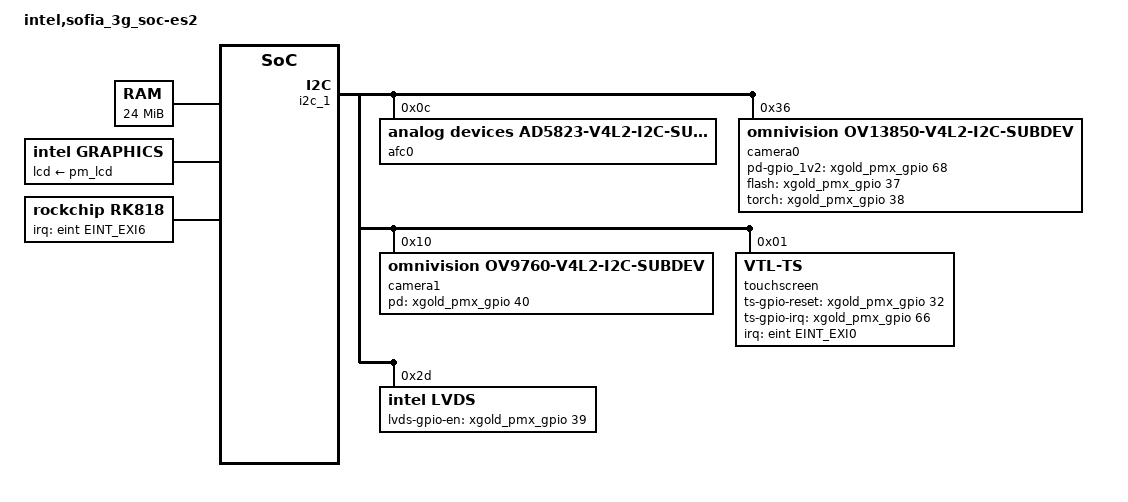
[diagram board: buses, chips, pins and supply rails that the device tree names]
/dts-v1/;
#define SOFIA3G_ES2
#define SOFIA3G_ES2_TAB_SVB
#include "xgold/sofia_3g_soc/irq.h"

/ {
	#address-cells = <1>;
	#size-cells = <1>;
	model = "intel,sofia_3g_soc-es2";
	compatible = "intel,sofia_3g_soc-svb", "intel,xgold";

	#include "xgold/sofia_3g_soc/sofia_3g_soc.dtsi"
	#include "xgold/sofia_3g_soc/irq.dtsi"
	#include "xgold/mobilevisor/mobilevisor.dtsi"
	#include "xgold/sofia_3g_soc/clock-es2.dtsi"
	#include "xgold/sofia_3g_soc/regulator.dtsi"
	#include "xgold/sofia_3g_soc/device-pm-reg.dtsi"
	#include "xgold/sofia_3g_soc/cpufreq.dtsi"
	#include "xgold/pmic/granite.dtsi"
	chosen {
	};

	aliases {
	};

	memory {
		device_type = "memory";
		reg = <0x800000 0x1800000>;
	};

	ion {
		compatible = "intel,ion";
#ifndef RECOVERY_KERNEL
		secvm-handler;
#endif
		cma-heap {
			intel,heapmem = <   0x00000000 0x08000000 >;
		};
	};

	backlight:agold620-backlight {
		compatible = "intel,agold620-led";
		reg = <0xE6501800 0x154>;
		reg-names = "pmu-bl";
		intel,flags-use-safe-ctrl;
		intel,vmm-secured-access;
		pm,class-name = "bl_class";
		pm,user-name = "bl";
		pm,state-D0 = "enable";
		pm,state-D3 = "disable";
		intel,led-k2 = <0x143>;
		intel,led-k1max = <0x120>;
		intel,led-k2max = <0xFFFF>;
		intel,led-up = <0x10104>;
		intel,led-down = <0x200>;
		intel,led-safe = <0x12>;
	};

	graphics {
		compatible = "intel,graphics";

		intel,gpu-shared-mem = <0x20000000>;
		intel,dcc-fbpixelformat= "RGB888";
		intel,dcc-debug-level = <1>;
#ifdef RECOVERY_KERNEL
		intel,fb-api = <1>;
		intel,dcc-mem = < 0x00800000 >;
#else
		intel,dcc-use-fences = <0>;
		intel,dcc-mem = < 0x00400000 >;
#endif
		intel,display-fps = <60>;
		intel,display-ramless = <1>;
		intel,display-preinit = <0>;
		intel,display-if = <&mipi_dsi>;
		intel,display-if-rate = <450000000>;
		lcd-supply = <&pm_lcd>;
		/include/ "xgold/display/claa070wp03xg.dtsi"
		mipi_dsi:mipi-dsi {
				intel,display-if-min = <104000000>;
				intel,display-if-max = <550000000>;
				intel,display-if-nblanes = <4>;
				intel,display-if-phy-pwup = <6>;
				intel,display-if-phy-calib = <3>;
				intel,display-if-phy-to_lp_hs_req = <24>;
				intel,display-if-phy-to_lp_hs_dis = <25>;
				intel,display-if-phy-to_lp_hs_eot = <60>;
				intel,display-if-phy-to_hs_zero = <8>;
				intel,display-if-phy-to_hs_flip = <24>;
				intel,display-if-phy-lp_clk_div = <31>;
				intel,display-if-phy-to_hs_clk_pre = <36>;
				intel,display-if-phy-to_hs_clk_post = <42>;
				intel,display-if-phy-data_delay = <7>;
				intel,display-if-phy-clock_delay = <7>;
				intel,display-if-phy-lp_tx_tfall = <2>;
				intel,display-if-phy-lp_tx_rise = <2>;
				intel,display-if-phy-lp_tx_vref = <31>;
		};
	};

#ifndef RECOVERY_KERNEL
	sound:sound {
		compatible = "intel,xgold-snd-asoc";
		intel,audio-codec = < &afe >;
		intel,pcm-audio = <&pcm_music>;
		intel,pcm-voice = <&pcm_voice>;
		intel,speech = <&speech_probe>;
		intel,jack = <&headset>;
	};
#endif

	rk818  {
		compatible = "rockchip,rk818";
		status = "okay";
		interrupt-parent = <&eint>;
		interrupts = < EINT_EXI6 XGOLD_IRQ_TYPE_EDGE_FALLING >;
		pinctrl-names = "default", "sleep", "inactive";
		pinctrl-0 = <&pmu_default_pins>;
		pinctrl-1 = <&pmu_sleep_pins>;
		pinctrl-2 = <&pmu_inactive_pins>;
		battery {
			ocv_table = <3350 3677 3693 3719 3752 3770 3775 3778 3785 3796 3812 3839 3881 3907 3933 3958 3978 4033 4087 4123 4174>;
			design_capacity = <2100>;
			design_qmax = <2200>;
			max_overcharge = <100>;
			max_charge_currentma = <1500>;
			max_charge_voltagemv = <4260>;
			max_bat_voltagemv = <4200>;
		};
	};
};

&eint {
	/* intel,virq,x = <0>; means EINTx is owned & requested by IRQ framework */
	intel,virq,0 = <0>; /* EINT_EXI0: TOUCH */
	intel,virq,1 = <0>; /* EINT_EXI1: ??? */
	intel,virq,2 = <0>; /* EINT_EXI2: ??? */
	intel,virq,3 = <1>; /* EINT_EXI3 */
	intel,virq,4 = <1>; /* EINT_EXI4 */
	intel,virq,5 = <1>; /* EINT_EXI5 */
	intel,virq,6 = <0>; /* EINT_EXI6: RK818 */
	intel,virq,7 = <1>; /* EINT_EXI7 */
	intel,virq,8 = <0>; /* EINT_EXI8: SD-DET */
	intel,virq,9 = <1>; /* EINT_EXI9 */
	intel,virq,10 = <1>; /* EINT_EXI10 */
	intel,virq,11 = <1>; /* EINT_EXI11 */
	intel,virq,12 = <0>; /* EINT_EXI12: ??? */
	intel,virq,13 = <1>; /* EINT_EXI13 */
	intel,virq,14 = <1>; /* EINT_EXI14 */
	intel,virq,15 = <1>; /* EINT_EXI15 */
	intel,virq,16 = <0>; /* EINT_USB_HS_RESUME */
	intel,virq,17 = <0>; /* EINT_SDMMC_DETECT */
	intel,virq,18 = <1>; /* EINT_SDIO_DAT3 */
	intel,virq,19 = <1>; /* EINT_SDIO_DAT1 */
	intel,virq,20 = <0>; /* EINT_USIF1_WK */
	intel,virq,21 = <1>; /* EINT_USIF2_WK */
	intel,virq,22 = <1>; /* EINT_WUP_DBB */
	intel,virq,23 = <1>; /* EINT_U2H */
	intel,virq,24 = <1>; /* EINT_G3FP */
	intel,virq,25 = <1>; /* EINT_DTXS */
	intel,virq,26 = <1>; /* EINT_DRXS */
	intel,virq,27 = <1>; /* EINT_WDT0 */
	intel,virq,28 = <1>; /* EINT_WDT1 */
	intel,virq,29 = <0>; /* EINT_USB_ID */

	intel,preack,8 = <1>; /* EINT_EXI8 */
	intel,preack,20 = <1>; /* EINT_USIF1_WK */
};

&idi_per {
	#include "xgold/agold620/agold620.dtsi"
};

&bat_hal {
	#define BAT_TYPE_LC 0
	#define POWER_SUPPLY_TECHNOLOGY_LION 2

	supp_batids =  < 0 BAT_TYPE_LC >;

	supp_batids-map = "standrd";

	prof-standrd = < POWER_SUPPLY_TECHNOLOGY_LION /*battery_type*/
				  2885 /*capacity*/
				  4350 /*voltage_max*/
				  144 /*chrg_term_ma*/
				  3200 /*low_batt_mv*/
				  60 /*disch_tmp_ul*/
				  0xffffffec /*disch_tmp_ll (-20)*/
				  0 /*min_temp*/
				  3 /*min_temp_restart*/
				  42 /*max_temp_restart*/ >;

	prof-standrd-cap_to_vbat_ocv = <
		3202 3378 3493 3569 3624 3661 3674 3680 3685 3689
		3692 3696 3700 3705 3713 3721 3728 3735 3742 3747
		3752 3758 3763 3767 3770 3773 3776 3778 3780 3782
		3784 3787 3789 3791 3794 3796 3799 3802 3805 3808
		3811 3815 3818 3822 3826 3830 3834 3839 3844 3848
		3854 3859 3865 3871 3877 3884 3891 3899 3907 3915
		3922 3930 3938 3946 3954 3963 3971 3979 3988 3996
		4005 4014 4023 4033 4043 4053 4062 4072 4082 4091
		4102 4112 4122 4133 4143 4154 4165 4176 4187 4198
		4209 4220 4232 4243 4255 4266 4277 4286 4297 4307
		4314 >;


	prof-standrd-ntemp_ranges = <1>;

	prof-standrd-temp_range0 = < 45 /*max_temp*/
					     4320 /*full_chrg_vol*/
					     1500 /*full_chrg_cur*/
					     98 /*charging_res_cap*/
					     4320 /*maint_chrg_vol_ul*/
					     1500 /*maint_chrg_cur*/ >;

	nprofiles = <1>;
};

&fuel_gauge_hal {
	sense_resistor_mohm = <20>;
	gain_error_1_uc_per_mc = <30>;
	gain_error_2_uc_per_mc = <30>;
};

&dcc {
	pinctrl-names = "default", "sleep", "inactive";
	pinctrl-0 = <&dif_default_pins>;
	pinctrl-1 = <&dif_sleep_pins>;
	pinctrl-2 = <&dif_inactive_pins>;
};

&usif1 {
	pinctrl-names = "default", "sleep", "inactive";
	pinctrl-0 = <&usif1_default_pins>;
	pinctrl-1 = <&usif1_sleep_pins>;
	pinctrl-2 = <&usif1_inactive_pins>;
};



&i2c_1 {
	pinctrl-names = "default", "sleep", "inactive";
	pinctrl-0 = <&i2c1_default_pins>;
	pinctrl-1 = <&i2c1_sleep_pins>;
	pinctrl-2 = <&i2c1_inactive_pins>;

#ifndef RECOVERY_KERNEL
	afc0: af-controller@0 {
		compatible = "analog devices,ad5823-v4l2-i2c-subdev";
		reg = < 0x0C >;
	};

	camera0: camera-module@0 {
		compatible = "omnivision,ov13850-v4l2-i2c-subdev";
		reg = < 0x36 >;
		device_type = "v4l2-i2c-subdev";

		pinctrl-names = "default", "sleep", "inactive";
		pinctrl-0 = <&cam1_default_pins>;
		pinctrl-1 = <&cam1_sleep_pins>;
		pinctrl-2 = <&cam1_inactive_pins>;

		intel,pd-gpio_1v2 = <&xgold_pmx_gpio 68 0>;
		intel,pd-gpio-is_active_low;
		intel,flash-gpio = <&xgold_pmx_gpio 37 0>;
		intel,torch-gpio = <&xgold_pmx_gpio 38 0>;

		pm,class-name = "generic_class";
		pm,user-name = "primcam";
		pm,state-D0 = "enable";
		pm,state-D3 = "disable";


		intel,camera-module-facing = "back";
		intel,camera-module-mounting = "landscape";
		intel,camera-module-flash-support = <1>;
		intel,camera-module-flash-exp-time = <5000>;

		intel,af-ctrl = <&afc0>;

		intel,camera-module-csi-config-0 {
			intel,csi-pixels-per-second = <0>;
			intel,csi-vc = <0>;
			intel,csi-lanes = <2>;
			intel,csi-dphy1 = <0x2014183>;
			intel,csi-dphy2 = <0x00>;
			intel,csi-ana-bandgap-bias = <3>;
		};
		intel,camera-module-csi-config-1 {
			intel,csi-pixels-per-second = <100000000>;
			intel,csi-vc = <0>;
			intel,csi-lanes = <4>;
			intel,csi-dphy1 = <0x600E1C1>;
			intel,csi-dphy2 = <0x00>;
			intel,csi-ana-bandgap-bias = <3>;
		};
	};
#endif
#ifndef RECOVERY_KERNEL
	camera1: camera-module@1 {
		compatible = "omnivision,ov9760-v4l2-i2c-subdev";
		reg = < 0x10 >;
		device_type = "v4l2-i2c-subdev";

		pinctrl-names = "default", "sleep", "inactive";
		pinctrl-0 = <&cam2_default_pins>;
		pinctrl-1 = <&cam2_sleep_pins>;
		pinctrl-2 = <&cam2_inactive_pins>;

		intel,pd-gpio = <&xgold_pmx_gpio 40 0>;
		intel,pd-gpio-is_active_low;

		pm,class-name = "generic_class";
		pm,user-name = "seccam";
		pm,state-D0 = "enable";
		pm,state-D3 = "disable";

		intel,camera-module-facing = "front";
		intel,camera-module-mounting = "landscape";
		intel,camera-module-flash-support = <1>;
		intel,camera-module-flash-exp-time = <5000>;

		intel,camera-module-csi-config-0 {
			intel,csi-pixels-per-second = <0>;
			intel,csi-vc = <0>;
			intel,csi-lanes = <1>;
			intel,csi-dphy1 = <0x60121A9>;
			intel,csi-dphy2 = <0x00>;
			intel,csi-ana-bandgap-bias = <3>;
		};

	};
#endif
#ifndef RECOVERY_KERNEL
	touchscreen {
		compatible = "VTL-TS";
		reg = < 0x01 >;
		interrupt-parent = <&eint>;
		interrupts = < EINT_EXI0 XGOLD_IRQ_TYPE_EDGE_FALLING >;
		pinctrl-names = "default", "sleep", "inactive";
		pinctrl-0 = <&touch_default_pins>;
		pinctrl-1 = <&touch_sleep_pins>;
		pinctrl-2 = <&touch_inactive_pins>;
		intel,ts-gpio-reset = <&xgold_pmx_gpio 32 0>;
		intel,ts-gpio-irq = <&xgold_pmx_gpio 66 0>;
		pm,class-name = "gt9xx_class";
		pm,user-name = "tp";
		pm,state-D0 = "enable";
		pm,state-D3 = "disable";
		intel,max-x = <800>;
		intel,max-y = <1280>;
	};
#endif
	lvds:icn6201 {
		compatible = "intel,lvds";
		reg = < 0x2D >;

		pinctrl-names = "default", "sleep", "inactive";
		pinctrl-0 = <&icn6202_default_pins>;
		pinctrl-1 = <&icn6202_sleep_pins>;
		pinctrl-2 = <&icn6202_inactive_pins>;
		intel,lvds-gpio-en = <&xgold_pmx_gpio 39 0>;
		intel,lvds-gpio-en-high = <1>;

		pm,class-name = "lvds_class";
		pm,user-name = "lvds";
		pm,state-D0 = "enable";
		pm,state-D3 = "disable";

		lvds,init-code = <
			0x20 0x20
			0x21 0x00
			0x22 0x53
			0x23 0x18
			0x24 0x10
			0x25 0x18
			0x26 0x00
			0x27 0x02
			0x28 0x02
			0x29 0x04
			0x34 0x80
			0x36 0x18
			0xB5 0xA0
			0x5C 0xFF
			0x56 0x92
			0x6B 0x32
			0x69 0x4B
			0xB6 0x20
			0x51 0x20
			0x09 0x10
		>;
	};
};



&i2c_5 {
	pinctrl-names = "default", "sleep", "inactive";
	pinctrl-0 = <&i2c5_agold_default_pins>;
	pinctrl-1 = <&i2c5_agold_sleep_pins>;
	pinctrl-2 = <&i2c5_agold_inactive_pins>;

};

&gnss {
	pinctrl-names = "default", "sleep", "inactive";
	pinctrl-0 = <&tcxo_agold_default_pins>;
	pinctrl-1 = <&tcxo_agold_sleep_pins>;
	pinctrl-2 = <&tcxo_agold_inactive_pins>;
};

&backlight {
	pinctrl-names = "default", "sleep", "inactive";
	pinctrl-0 = <&led_agold_default_pins>;
	pinctrl-1 = <&led_agold_sleep_pins>;
	pinctrl-2 = <&led_agold_inactive_pins>;
};

#ifndef RECOVERY_KERNEL
&afe {
	pinctrl-names = "default", "sleep", "inactive";
	pinctrl-0 = <&dm_agold_default_pins>;
	pinctrl-1 = <&dm_agold_sleep_pins>;
	pinctrl-2 = <&dm_agold_inactive_pins>;
};
#endif

&sd {
	intel,tap_values = <0x080400F5 0x08040004 0x00040004 0x08040004 0x5CF501A5 0x00F500A5 0x00F500A5>;
	pinctrl-names = "default", "sleep", "inactive";
	pinctrl-0 = <&sdmmc_default_pins>;
	pinctrl-1 = <&sdmmc_sleep_pins>;
	pinctrl-2 = <&sdmmc_inactive_pins>;
};

&emmc {
	intel,tap_values = <0x080400F5 0x08040004 0x00040004 0x08040004 0x08040004 0x000400B5 0x000400B5>;
	pinctrl-names = "default", "sleep", "inactive";
	pinctrl-0 = <&emmc_default_pins>;
	pinctrl-1 = <&emmc_sleep_pins>;
	pinctrl-2 = <&emmc_inactive_pins>;

};

&keypad {
	pinctrl-names = "default", "sleep", "inactive";
	pinctrl-0 = <&kp_default_pins>;
	pinctrl-1 = <&kp_sleep_pins>;
	pinctrl-2 = <&kp_inactive_pins>;
	keypad,num-rows = <4>;
	keypad,num-columns = <8>;
	keypad,rows = <3>;
	keypad,columns = <3 4>;
	linux,keymap = <0x03030066	/* KEY_VOLUMEUP */
			0x03040074>;	/* KEY_VOLUMEDOWN */
};

#ifndef RECOVERY_KERNEL
&cif {
	intel,camera-modules-attached = <&camera0 &camera1>;
};
#endif

#include "xgold/agold620/pinctrl-sf_3g-es2-tab.dtsi"
#include "xgold/sofia_3g_soc/pinctrl-sf_3g-es2-tab.dtsi"
